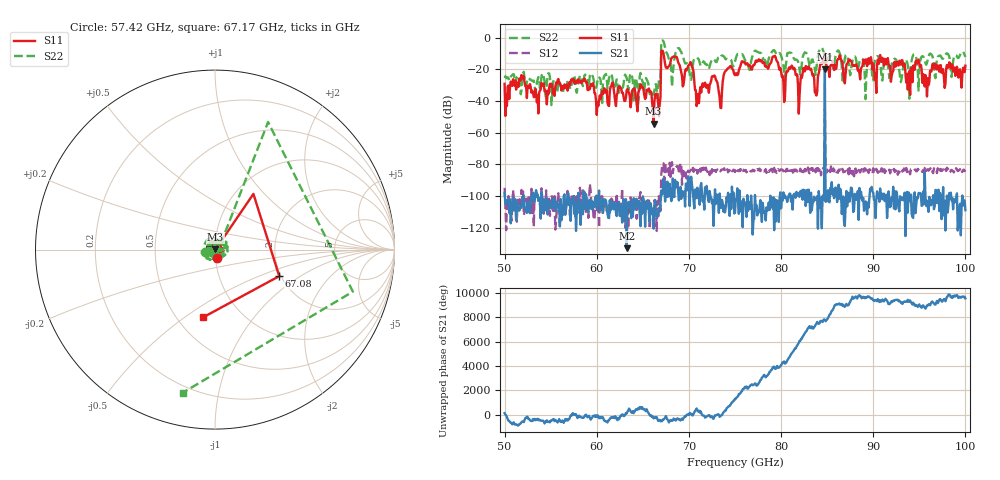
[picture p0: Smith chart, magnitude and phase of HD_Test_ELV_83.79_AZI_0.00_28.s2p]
! 11/25/2026 9:20:38 AM
! C:\ANRITSUVNA\TEMP\TEMP.S2P
! CHANNEL.1
! TR.MEASUREMENT
! RAW.DATA
# HZ S RI R 50.0
! FREQ.HZ  S11RE  S11IM  S21RE  S21IM  S12RE  S12IM  S22RE  S22IM
!; PortSelection: Port_12
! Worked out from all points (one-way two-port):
!   601 points, 50 GHz to 100 GHz, reference 50 ohm
!   highest |S21| = -20.09 dB at 84.75 GHz (marker M1); lowest = -133.0 dB at 63.25 GHz (marker M2)
!   lowest |S11| = -54.3 dB at 66.17 GHz (marker M3), VSWR 1.00, Z = 50.1 + j0.151 ohm
!   |S11| at or under -10 dB: start of sweep to 67 GHz; 67.24 GHz to 84.75 GHz (17.51 GHz wide, 23 % of centre); 84.75 GHz to end of sweep
!   |S22| runs from -42.6 to -1.8 dB; largest |S21 - S12| = 0.099
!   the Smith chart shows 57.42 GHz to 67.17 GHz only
!   S11 on the Smith chart (normalised r, x): 57.42 GHz: 1.02, -0.09; 67.08 GHz: 1.96, -0.68; 67.17 GHz: 0.67, -0.59
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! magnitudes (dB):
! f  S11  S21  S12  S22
! 50 GHz  -29.2  -98.1  -94.9  -25.4
! 57.42 GHz  -26.3  -102.3  -106.6  -25.2
! 58.42 GHz  -27.2  -109.9  -109.6  -29.0
! 60.17 GHz  -43.2  -105.3  -100.6  -24.8
! 63.25 GHz  -33.2  -133.0  -105.9  -25.3
! 66.17 GHz  -54.3  -120.7  -109.5  -35.4
! 66.67 GHz  -41.9  -110.3  -114.4  -32.1
! 67.08 GHz  -8.2  -99.2  -81.3  -1.9
! 67.17 GHz  -8.3  -98.0  -80.7  -1.8
! 70.17 GHz  -15.5  -91.5  -83.9  -25.7
! 70.92 GHz  -40.7  -94.8  -85.9  -13.3
! 75 GHz  -23.7  -110.6  -84.9  -15.0
! 79.25 GHz  -11.8  -121.7  -82.3  -7.9
! 80.25 GHz  -27.6  -97.8  -84.4  -17.7
! 83.42 GHz  -23.8  -104.7  -82.4  -13.8
! 83.83 GHz  -36.6  -102.5  -82.6  -19.5
! 84.75 GHz  -9.7  -20.1  -45.1  -11.7
! 91.67 GHz  -16.7  -97.2  -84.1  -20.5
! 93.75 GHz  -32.8  -110.6  -83.6  -17.3
! 94.83 GHz  -15.0  -101.6  -82.9  -20.3
! 95.83 GHz  -37.1  -103.1  -83.4  -15.9
! 100 GHz  -17.7  -109.0  -84.7  -12.2
